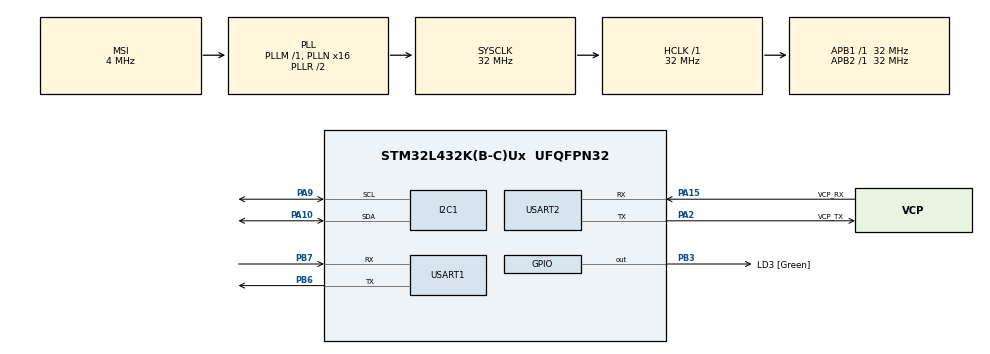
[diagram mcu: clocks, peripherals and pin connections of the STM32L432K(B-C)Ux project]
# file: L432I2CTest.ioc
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I2C1.Timing=0x00707CBB
Mcu.Family=STM32L4
Mcu.Name=STM32L432K(B-C)Ux
Mcu.Package=UFQFPN32
NVIC.PriorityGroup=NVIC_PRIORITYGROUP_4
PA0.GPIO_Label=MCO [High speed clock in]
PA0.Mode=HSE-External-Clock-Source-for-LittleOrca
PA0.Signal=RCC_CK_IN
PA10.Mode=I2C
PA10.Signal=I2C1_SDA
PA13\ (JTMS-SWDIO).GPIO_Label=SWDIO
PA13\ (JTMS-SWDIO).Mode=Serial_Wire
PA13\ (JTMS-SWDIO).Signal=SYS_JTMS-SWDIO
PA14\ (JTCK-SWCLK).GPIO_Label=SWCLK
PA14\ (JTCK-SWCLK).Mode=Serial_Wire
PA14\ (JTCK-SWCLK).Signal=SYS_JTCK-SWCLK
PA15\ (JTDI).GPIO_Label=VCP_RX
PA15\ (JTDI).Mode=Asynchronous
PA15\ (JTDI).Signal=USART2_RX
PA2.GPIO_Label=VCP_TX
PA2.Mode=Asynchronous
PA2.Signal=USART2_TX
PA9.Mode=I2C
PA9.Signal=I2C1_SCL
PB3\ (JTDO-TRACESWO).GPIO_Label=LD3 [Green]
PB3\ (JTDO-TRACESWO).Signal=GPIO_Output
PB6.Mode=Asynchronous
PB6.Signal=USART1_TX
PB7.Mode=Asynchronous
PB7.Signal=USART1_RX
PC14-OSC32_IN\ (PC14).Mode=LSE-External-Oscillator
PC14-OSC32_IN\ (PC14).Signal=RCC_OSC32_IN
PC15-OSC32_OUT\ (PC15).Mode=LSE-External-Oscillator
PC15-OSC32_OUT\ (PC15).Signal=RCC_OSC32_OUT
ProjectManager.HeapSize=0x200
ProjectManager.StackSize=0x400
ProjectManager.TargetToolchain=STM32CubeIDE
RCC.AHBFreq_Value=32000000
RCC.APB1Freq_Value=32000000
RCC.APB1TimFreq_Value=32000000
RCC.APB2Freq_Value=32000000
RCC.APB2TimFreq_Value=32000000
RCC.CortexFreq_Value=32000000
RCC.HCLKFreq_Value=32000000
RCC.HSE_VALUE=8000000
RCC.HSI16_VALUE=16000000
RCC.HSI48_VALUE=48000000
RCC.HSI_VALUE=16000000
RCC.MSI_VALUE=4000000
RCC.PLLMUL=RCC_PLLMUL_4
RCC.PLLN=16
RCC.SYSCLKFreq_VALUE=32000000
RCC.SYSCLKSource=RCC_SYSCLKSOURCE_PLLCLK
RCC.VCOOutputFreq_Value=64000000
USART1.VirtualMode-Asynchronous=VM_ASYNC
USART2.VirtualMode-Asynchronous=VM_ASYNC
board=NUCLEO-L432KC

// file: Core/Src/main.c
/* USER CODE BEGIN Header */
/**
  ******************************************************************************
  * @file           : main.c
  * @brief          : Main program body
  ******************************************************************************
  * @attention
  *
  * <h2><center>&copy; Copyright (c) 2020 STMicroelectronics.
  * All rights reserved.</center></h2>
  *
  * This software component is licensed by ST under BSD 3-Clause license,
  * the "License"; You may not use this file except in compliance with the
  * License. You may obtain a copy of the License at:
  *                        opensource.org/licenses/BSD-3-Clause
  *
  ******************************************************************************
  */
/* USER CODE END Header */

#include "main.h"
#include "sps30_example_usage.h"
#include <stdio.h>

I2C_HandleTypeDef hi2c1;

UART_HandleTypeDef huart1;
UART_HandleTypeDef huart2;

void SystemClock_Config(void);
static void MX_GPIO_Init(void);
static void MX_USART2_UART_Init(void);
static void MX_I2C1_Init(void);
static void MX_USART1_UART_Init(void);

int main(void)
{

  /* MCU Configuration--------------------------------------------------------*/

  /* Reset of all peripherals, Initializes the Flash interface and the Systick. */
  HAL_Init();

  /* Configure the system clock */
  SystemClock_Config();

  /* Initialize all configured peripherals */
  MX_GPIO_Init();
  MX_USART2_UART_Init();
  MX_I2C1_Init();
  MX_USART1_UART_Init();
  /* USER CODE BEGIN 2 */

  HAL_StatusTypeDef result;

  char uart2Data[24] = "Connected to UART Two\r\n";
    /*
     * Output to uart2
     * use screen or putty or whatever terminal software
     * 8N1 115200
     */
    HAL_UART_Transmit(&huart2, (uint8_t *)&uart2Data,sizeof(uart2Data), 0xFFFF);

  	printf("\r\n");

  	printf("Scanning I2C bus:\r\n");

  	uint8_t i;
  	for (i=1; i<128; i++)
  	{
  	  /*
  	   * the HAL wants a left aligned i2c address
  	   * &hi2c1 is the handle
  	   * (uint16_t)(i<<1) is the i2c address left aligned
  	   * retries 2
  	   * timeout 2
  	   */
  	  result = HAL_I2C_IsDeviceReady(&hi2c1, (uint16_t)(i<<1), 2, 2);
  	  if (result != HAL_OK) // HAL_ERROR or HAL_BUSY or HAL_TIMEOUT
  	  {
  		  printf("."); // No ACK received at that address
  	  }
  	  if (result == HAL_OK)
  	  {
  		  printf("0x%X", i); // Received an ACK at that address
  	  }
  	}
  	printf("\r\n");

  	//call routine to initialize and read sps30
  	result = sps30_example_usage();

  /* USER CODE END 2 */

  /* Infinite loop */
  while (1)
  {

  }
}

void SystemClock_Config(void)
{
  RCC_OscInitTypeDef RCC_OscInitStruct = {0};
  RCC_ClkInitTypeDef RCC_ClkInitStruct = {0};
  RCC_PeriphCLKInitTypeDef PeriphClkInit = {0};

  /** Configure LSE Drive Capability
  */
  HAL_PWR_EnableBkUpAccess();
  __HAL_RCC_LSEDRIVE_CONFIG(RCC_LSEDRIVE_LOW);
  /** Initializes the CPU, AHB and APB busses clocks
  */
  RCC_OscInitStruct.OscillatorType = RCC_OSCILLATORTYPE_LSE|RCC_OSCILLATORTYPE_MSI;
  RCC_OscInitStruct.LSEState = RCC_LSE_ON;
  RCC_OscInitStruct.MSIState = RCC_MSI_ON;
  RCC_OscInitStruct.MSICalibrationValue = 0;
  RCC_OscInitStruct.MSIClockRange = RCC_MSIRANGE_6;
  RCC_OscInitStruct.PLL.PLLState = RCC_PLL_ON;
  RCC_OscInitStruct.PLL.PLLSource = RCC_PLLSOURCE_MSI;
  RCC_OscInitStruct.PLL.PLLM = 1;
  RCC_OscInitStruct.PLL.PLLN = 16;
  RCC_OscInitStruct.PLL.PLLP = RCC_PLLP_DIV7;
  RCC_OscInitStruct.PLL.PLLQ = RCC_PLLQ_DIV2;
  RCC_OscInitStruct.PLL.PLLR = RCC_PLLR_DIV2;
  if (HAL_RCC_OscConfig(&RCC_OscInitStruct) != HAL_OK)
  {
    Error_Handler();
  }
  /** Initializes the CPU, AHB and APB busses clocks
  */
  RCC_ClkInitStruct.ClockType = RCC_CLOCKTYPE_HCLK|RCC_CLOCKTYPE_SYSCLK
                              |RCC_CLOCKTYPE_PCLK1|RCC_CLOCKTYPE_PCLK2;
  RCC_ClkInitStruct.SYSCLKSource = RCC_SYSCLKSOURCE_PLLCLK;
  RCC_ClkInitStruct.AHBCLKDivider = RCC_SYSCLK_DIV1;
  RCC_ClkInitStruct.APB1CLKDivider = RCC_HCLK_DIV1;
  RCC_ClkInitStruct.APB2CLKDivider = RCC_HCLK_DIV1;

  if (HAL_RCC_ClockConfig(&RCC_ClkInitStruct, FLASH_LATENCY_1) != HAL_OK)
  {
    Error_Handler();
  }
  PeriphClkInit.PeriphClockSelection = RCC_PERIPHCLK_USART1|RCC_PERIPHCLK_USART2
                              |RCC_PERIPHCLK_I2C1;
  PeriphClkInit.Usart1ClockSelection = RCC_USART1CLKSOURCE_PCLK2;
  PeriphClkInit.Usart2ClockSelection = RCC_USART2CLKSOURCE_PCLK1;
  PeriphClkInit.I2c1ClockSelection = RCC_I2C1CLKSOURCE_PCLK1;
  if (HAL_RCCEx_PeriphCLKConfig(&PeriphClkInit) != HAL_OK)
  {
    Error_Handler();
  }
  /** Configure the main internal regulator output voltage
  */
  if (HAL_PWREx_ControlVoltageScaling(PWR_REGULATOR_VOLTAGE_SCALE1) != HAL_OK)
  {
    Error_Handler();
  }
  /** Enable MSI Auto calibration
  */
  HAL_RCCEx_EnableMSIPLLMode();
}

static void MX_I2C1_Init(void)
{

  hi2c1.Instance = I2C1;
  hi2c1.Init.Timing = 0x00707CBB;
  hi2c1.Init.OwnAddress1 = 0;
  hi2c1.Init.AddressingMode = I2C_ADDRESSINGMODE_7BIT;
  hi2c1.Init.DualAddressMode = I2C_DUALADDRESS_DISABLE;
  hi2c1.Init.OwnAddress2 = 0;
  hi2c1.Init.OwnAddress2Masks = I2C_OA2_NOMASK;
  hi2c1.Init.GeneralCallMode = I2C_GENERALCALL_DISABLE;
  hi2c1.Init.NoStretchMode = I2C_NOSTRETCH_DISABLE;
  if (HAL_I2C_Init(&hi2c1) != HAL_OK)
  {
    Error_Handler();
  }
  /** Configure Analogue filter
  */
  if (HAL_I2CEx_ConfigAnalogFilter(&hi2c1, I2C_ANALOGFILTER_ENABLE) != HAL_OK)
  {
    Error_Handler();
  }
  /** Configure Digital filter
  */
  if (HAL_I2CEx_ConfigDigitalFilter(&hi2c1, 0) != HAL_OK)
  {
    Error_Handler();
  }

}

static void MX_USART1_UART_Init(void)
{

  huart1.Instance = USART1;
  huart1.Init.BaudRate = 115200;
  huart1.Init.WordLength = UART_WORDLENGTH_8B;
  huart1.Init.StopBits = UART_STOPBITS_1;
  huart1.Init.Parity = UART_PARITY_NONE;
  huart1.Init.Mode = UART_MODE_TX_RX;
  huart1.Init.HwFlowCtl = UART_HWCONTROL_NONE;
  huart1.Init.OverSampling = UART_OVERSAMPLING_16;
  huart1.Init.OneBitSampling = UART_ONE_BIT_SAMPLE_DISABLE;
  huart1.AdvancedInit.AdvFeatureInit = UART_ADVFEATURE_NO_INIT;
  if (HAL_UART_Init(&huart1) != HAL_OK)
  {
    Error_Handler();
  }

}

static void MX_USART2_UART_Init(void)
{

  huart2.Instance = USART2;
  huart2.Init.BaudRate = 115200;
  huart2.Init.WordLength = UART_WORDLENGTH_8B;
  huart2.Init.StopBits = UART_STOPBITS_1;
  huart2.Init.Parity = UART_PARITY_NONE;
  huart2.Init.Mode = UART_MODE_TX_RX;
  huart2.Init.HwFlowCtl = UART_HWCONTROL_NONE;
  huart2.Init.OverSampling = UART_OVERSAMPLING_16;
  huart2.Init.OneBitSampling = UART_ONE_BIT_SAMPLE_DISABLE;
  huart2.AdvancedInit.AdvFeatureInit = UART_ADVFEATURE_NO_INIT;
  if (HAL_UART_Init(&huart2) != HAL_OK)
  {
    Error_Handler();
  }

}

static void MX_GPIO_Init(void)
{
  GPIO_InitTypeDef GPIO_InitStruct = {0};

  /* GPIO Ports Clock Enable */
  __HAL_RCC_GPIOC_CLK_ENABLE();
  __HAL_RCC_GPIOA_CLK_ENABLE();
  __HAL_RCC_GPIOB_CLK_ENABLE();

  /*Configure GPIO pin Output Level */
  HAL_GPIO_WritePin(LD3_GPIO_Port, LD3_Pin, GPIO_PIN_RESET);

  /*Configure GPIO pin : LD3_Pin */
  GPIO_InitStruct.Pin = LD3_Pin;
  GPIO_InitStruct.Mode = GPIO_MODE_OUTPUT_PP;
  GPIO_InitStruct.Pull = GPIO_NOPULL;
  GPIO_InitStruct.Speed = GPIO_SPEED_FREQ_LOW;
  HAL_GPIO_Init(LD3_GPIO_Port, &GPIO_InitStruct);

}

/* USER CODE BEGIN 4 */
/**
  * @brief  Retargets the C library printf function to the USART.
  * @param  None
  * @retval None
  */
//extern UART_HandleTypeDef huart2; // access huart2 instance

__attribute__((weak)) int __io_putchar(int ch)
{
    HAL_StatusTypeDef status = HAL_UART_Transmit(&huart2, (uint8_t *)&ch, 1, 0xFFFF);
    return (status == HAL_OK ? ch : 0);
}
/* USER CODE END 4 */

void Error_Handler(void)
{
}

/************************ (C) COPYRIGHT STMicroelectronics *****END OF FILE****/
